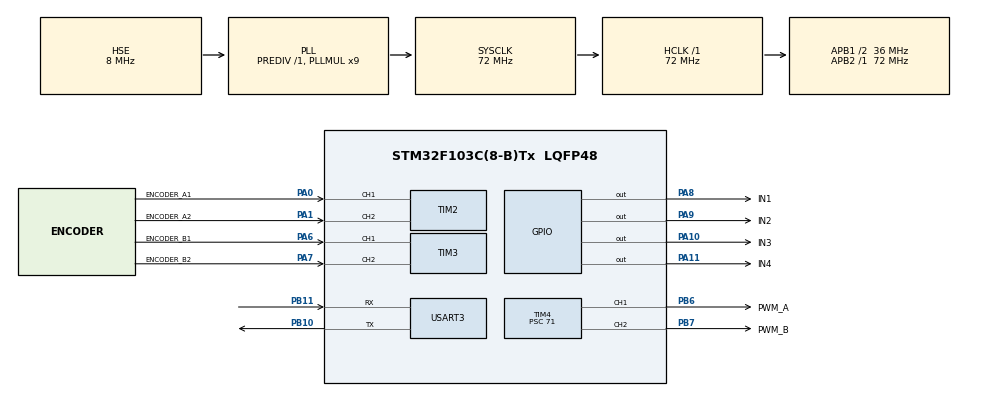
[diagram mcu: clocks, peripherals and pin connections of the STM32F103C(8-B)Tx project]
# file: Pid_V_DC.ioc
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Dma.Request0=USART3_RX
Dma.USART3_RX.0.Direction=DMA_PERIPH_TO_MEMORY
Dma.USART3_RX.0.Instance=DMA1_Channel3
Dma.USART3_RX.0.MemDataAlignment=DMA_MDATAALIGN_BYTE
Dma.USART3_RX.0.MemInc=DMA_MINC_ENABLE
Dma.USART3_RX.0.Mode=DMA_NORMAL
Dma.USART3_RX.0.PeriphDataAlignment=DMA_PDATAALIGN_BYTE
Dma.USART3_RX.0.PeriphInc=DMA_PINC_DISABLE
Dma.USART3_RX.0.Priority=DMA_PRIORITY_LOW
Mcu.Family=STM32F1
Mcu.Name=STM32F103C(8-B)Tx
Mcu.Package=LQFP48
NVIC.DMA1_Channel3_IRQn=true\:0\:0\:false\:false\:true\:false\:true\:true
NVIC.PriorityGroup=NVIC_PRIORITYGROUP_4
NVIC.TIM1_UP_IRQn=true\:1\:0\:true\:false\:true\:true\:true\:true
NVIC.USART3_IRQn=true\:0\:0\:false\:false\:true\:true\:true\:true
PA0-WKUP.GPIO_Label=ENCODER_A1
PA0-WKUP.GPIO_PuPd=GPIO_PULLUP
PA0-WKUP.Signal=S_TIM2_CH1_ETR
PA1.GPIO_Label=ENCODER_A2
PA1.GPIO_PuPd=GPIO_PULLUP
PA1.Signal=S_TIM2_CH2
PA10.GPIO_Label=IN3
PA10.GPIO_ModeDefaultOutputPP=GPIO_MODE_OUTPUT_PP
PA10.GPIO_PuPd=GPIO_PULLUP
PA10.GPIO_Speed=GPIO_SPEED_FREQ_HIGH
PA10.PinState=GPIO_PIN_SET
PA10.Signal=GPIO_Output
PA11.GPIO_Label=IN4
PA11.GPIO_ModeDefaultOutputPP=GPIO_MODE_OUTPUT_PP
PA11.GPIO_PuPd=GPIO_PULLUP
PA11.GPIO_Speed=GPIO_SPEED_FREQ_HIGH
PA11.PinState=GPIO_PIN_SET
PA11.Signal=GPIO_Output
PA13.Mode=Serial_Wire
PA13.Signal=SYS_JTMS-SWDIO
PA14.Mode=Serial_Wire
PA14.Signal=SYS_JTCK-SWCLK
PA6.GPIO_Label=ENCODER_B1
PA6.GPIO_Mode=GPIO_MODE_INPUT
PA6.GPIO_PuPd=GPIO_PULLUP
PA6.Signal=S_TIM3_CH1
PA7.GPIO_Label=ENCODER_B2
PA7.GPIO_Mode=GPIO_MODE_INPUT
PA7.GPIO_PuPd=GPIO_PULLUP
PA7.Signal=S_TIM3_CH2
PA8.GPIO_Label=IN1
PA8.GPIO_ModeDefaultOutputPP=GPIO_MODE_OUTPUT_PP
PA8.GPIO_PuPd=GPIO_PULLUP
PA8.GPIO_Speed=GPIO_SPEED_FREQ_HIGH
PA8.PinState=GPIO_PIN_SET
PA8.Signal=GPIO_Output
PA9.GPIO_Label=IN2
PA9.GPIO_ModeDefaultOutputPP=GPIO_MODE_OUTPUT_PP
PA9.GPIO_PuPd=GPIO_PULLUP
PA9.GPIO_Speed=GPIO_SPEED_FREQ_HIGH
PA9.PinState=GPIO_PIN_SET
PA9.Signal=GPIO_Output
PB10.Mode=Asynchronous
PB10.Signal=USART3_TX
PB11.Mode=Asynchronous
PB11.Signal=USART3_RX
PB6.GPIO_Label=PWM_A
PB6.GPIO_Speed=GPIO_SPEED_FREQ_HIGH
PB6.Signal=S_TIM4_CH1
PB7.GPIO_Label=PWM_B
PB7.GPIO_Speed=GPIO_SPEED_FREQ_HIGH
PB7.Signal=S_TIM4_CH2
PD0-OSC_IN.Mode=HSE-External-Oscillator
PD0-OSC_IN.Signal=RCC_OSC_IN
PD1-OSC_OUT.Mode=HSE-External-Oscillator
PD1-OSC_OUT.Signal=RCC_OSC_OUT
ProjectManager.HeapSize=0x200
ProjectManager.StackSize=0x400
ProjectManager.TargetToolchain=EWARM V8.32
RCC.AHBFreq_Value=72000000
RCC.APB1CLKDivider=RCC_HCLK_DIV2
RCC.APB1Freq_Value=36000000
RCC.APB1TimFreq_Value=72000000
RCC.APB2Freq_Value=72000000
RCC.APB2TimFreq_Value=72000000
RCC.HCLKFreq_Value=72000000
RCC.PLLMUL=RCC_PLL_MUL9
RCC.PLLSourceVirtual=RCC_PLLSOURCE_HSE
RCC.SYSCLKFreq_VALUE=72000000
RCC.SYSCLKSource=RCC_SYSCLKSOURCE_PLLCLK
RCC.USBFreq_Value=72000000
SH.S_TIM2_CH1_ETR.0=TIM2_CH1,Encoder_Interface
SH.S_TIM2_CH2.0=TIM2_CH2,Encoder_Interface
SH.S_TIM3_CH1.0=TIM3_CH1,Encoder_Interface
SH.S_TIM3_CH2.0=TIM3_CH2,Encoder_Interface
SH.S_TIM4_CH1.0=TIM4_CH1,PWM Generation1 CH1
SH.S_TIM4_CH2.0=TIM4_CH2,PWM Generation2 CH2
TIM1.Period=1999
TIM1.Prescaler=359
TIM2.EncoderMode=TIM_ENCODERMODE_TI12
TIM3.EncoderMode=TIM_ENCODERMODE_TI12
TIM4.Channel-PWM\ Generation1\ CH1=TIM_CHANNEL_1
TIM4.Channel-PWM\ Generation2\ CH2=TIM_CHANNEL_2
TIM4.Period=999
TIM4.Prescaler=71
USART3.VirtualMode=VM_ASYNC
VP_TIM1_VS_ClockSourceINT.Mode=Internal
board=custom

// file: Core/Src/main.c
/* USER CODE BEGIN Header */
/**
  ******************************************************************************
  * @file           : main.c
  * @brief          : Main program body
  ******************************************************************************
  * @attention
  *
  * Copyright (c) 2023 STMicroelectronics.
  * All rights reserved.
  *
  * This software is licensed under terms that can be found in the LICENSE file
  * in the root directory of this software component.
  * If no LICENSE file comes with this software, it is provided AS-IS.
  *
  ******************************************************************************
  */
/* USER CODE END Header */
#include "main.h"

/* USER CODE BEGIN Includes */

#include <stdio.h>
#include <stdlib.h>
#include <string.h>

/* USER CODE END Includes */

/* USER CODE BEGIN PTD */

  // Defining PID using typedef struct

  typedef struct {
  float Kp;
  float Ki;
  float Kd;
  float Setpoint;
  float Error;
  float Last_Error;
  float Integral;
  float Derivative;
  float CurrentRPM;
} PID_Controller;

  PID_Controller pid_1;
  PID_Controller pid_2;

/* USER CODE END PTD */

/* USER CODE BEGIN PD */

  #define in_1_T HAL_GPIO_WritePin(GPIOA, GPIO_PIN_8, GPIO_PIN_SET)
  #define in_2_T HAL_GPIO_WritePin(GPIOA, GPIO_PIN_9, GPIO_PIN_RESET)
  #define in_3_T HAL_GPIO_WritePin(GPIOA, GPIO_PIN_10, GPIO_PIN_SET)
  #define in_4_T HAL_GPIO_WritePin(GPIOA, GPIO_PIN_11, GPIO_PIN_RESET)

  #define in_1_N HAL_GPIO_WritePin(GPIOA, GPIO_PIN_8, GPIO_PIN_RESET)
  #define in_2_N HAL_GPIO_WritePin(GPIOA, GPIO_PIN_9, GPIO_PIN_SET)
  #define in_3_N HAL_GPIO_WritePin(GPIOA, GPIO_PIN_10, GPIO_PIN_RESET)
  #define in_4_N HAL_GPIO_WritePin(GPIOA, GPIO_PIN_11, GPIO_PIN_SET)

  #define RX_SIZE 12

/* USER CODE END PD */

TIM_HandleTypeDef htim1;
TIM_HandleTypeDef htim2;
TIM_HandleTypeDef htim3;
TIM_HandleTypeDef htim4;

UART_HandleTypeDef huart3;
DMA_HandleTypeDef hdma_usart3_rx;

/* USER CODE BEGIN PV */

// Encoder Resolution (so xung trên 1 vong quay cua Encoder)
const float EncoderResolution = 1500.0;

// Thoi gian lay mau (0.01 giây) = 10ms
const float T = 0.01;

// R la ban kinh banh xe , B la chieu rong cua Robot (khoang cach giua 2 banh)
const float R = 0.0325, B = 0.1, pi = 3.14 ;

short i,a = 0;

// data nhan tu PC va PI

char str[12];

//uint8_t rxBuffer[RX_SIZE] = {0};

uint8_t data_RX[RX_SIZE] = {0};
uint8_t size = 0;

// bien lua gia tri doc tu encoder
volatile short EncoderCount_1 = 0;
volatile short EncoderCount_2 = 0;
// float CurrentRPM_1,CurrentRPM_2 = 0;

// Dau ra cua ham pid
float ControlOutput_1,ControlOutput_2,ControlOutput_3 = 0;

// Van toc goc banh trai va banh phai
float Velocity_1,Velocity_2 = 0;

// Bien van toc 2 banh
float V_R, V_L;

// Van toc tiep tuyen va goc lech theta
float V_Tangent = 0;
float theta = 0;
float omega = 0;
/* USER CODE END PV */

void SystemClock_Config(void);
static void MX_GPIO_Init(void);
static void MX_DMA_Init(void);
static void MX_TIM2_Init(void);
static void MX_TIM3_Init(void);
static void MX_TIM4_Init(void);
static void MX_TIM1_Init(void);
static void MX_USART3_UART_Init(void);
/* USER CODE BEGIN PFP */

float Conv_Velocity_R(void);
float Conv_Velocity_L(void) ;

//void PWM_SetDutyCycle(float dutyCycle);
float PID_Update_1(PID_Controller *pid, float Setpoint, float Feedback);
float PID_Update_2(PID_Controller *pid, float Setpoint, float Feedback);
//void PWM_SetDutyCycle_2DC (float dutyCycle_1, float dutyCycle_2);

float Conv_Omega_R (float V_Tangent, float theta);
float Conv_Omega_L (float V_Tangent, float theta);

void PWM_SetDutyCycle_1(float dutyCycle);
void PWM_SetDutyCycle_2(float dutyCycle);

void Recevie_DaTa();

/* USER CODE END PFP */

/* USER CODE BEGIN 0 */

 //ham ngat timer 1 xu li pid voi chu ki lay mau la 10ms
void HAL_TIM_PeriodElapsedCallback(TIM_HandleTypeDef *htim)
{
 if(htim->Instance == htim1.Instance)
 {
     //Tinh toan dieu khien PID

    // Nhan du lieu V, theta bang Uart tu raspberry
    Recevie_DaTa();

    // doi theta tu don vi do sang radian
    //theta = theta * (pi/180);

    pid_1.Setpoint = Conv_Omega_R(V_Tangent, theta);
    pid_2.Setpoint = Conv_Omega_L(V_Tangent, theta);

    pid_1.CurrentRPM = Conv_Velocity_R();
    pid_2.CurrentRPM = Conv_Velocity_L();

    ControlOutput_1 = PID_Update_1(&pid_1, pid_1.Setpoint, pid_1.CurrentRPM);
    ControlOutput_2 = PID_Update_2(&pid_2, pid_2.Setpoint, pid_2.CurrentRPM);
    //ControlOutput_3 = PID_Update_3(&pid_3, pid_3.Setpoint, pid_3.CurrentRPM);

    PWM_SetDutyCycle_1(ControlOutput_1);
    PWM_SetDutyCycle_2(ControlOutput_2);

    //PWM_SetDutyCycle_2DC(ControlOutput_1, ControlOutput_2);
    // Xoa co ngat timer 1
    //TIM1->SR &= ~TIM_SR_UIF;
 }
}

// HamPID Update 1 va 2 la PID van toc goc cua 2 dong co (vong tren phut)
float PID_Update_1(PID_Controller *pid, float Setpoint, float Feedback) {

  pid->Error = Setpoint - Feedback;
  pid->Integral += pid->Error;
  pid->Derivative = pid->Error - pid->Last_Error;

  // Tinh dieu khien PID
  float Output = pid->Kp * pid->Error + pid->Ki * pid->Integral + pid->Kd * pid->Derivative;

   pid->Last_Error = pid->Error;

  return Output;
}

float PID_Update_2(PID_Controller *pid, float Setpoint, float Feedback) {

  pid->Error = Setpoint - Feedback;
  pid->Integral += pid->Error;
  pid->Derivative = pid->Error - pid->Last_Error;

  // Tinh dieu khien PID
  float Output = pid->Kp * pid->Error + pid->Ki * pid->Integral + pid->Kd * pid->Derivative;

   pid->Last_Error = pid->Error;

  return Output;
}

void Recevie_DaTa(){
   // Phân tích chuoi va gan gia tri bien
    // Sao chép du lieu tu mang uint8_t sang mang char
    for (int i = 0; i < 11; i++) {

          str[i] = (char)data_RX[i];
    }

    sscanf(str,"V%f,T%f", &V_Tangent, &theta);
}

void HAL_UARTEx_RxEventCallback(UART_HandleTypeDef *huart, uint16_t Size)
{
     HAL_UARTEx_ReceiveToIdle_DMA(&huart3, data_RX, RX_SIZE);
     size = Size;
}

// Ham doc encoder và quy doi van toc
float Conv_Velocity_R(void) {
  //static int EncoderCount = 0;
  //static int PrevEncoderCount = 0;

  // Ðoc giá tri tu Encoder
  EncoderCount_1 = __HAL_TIM_GET_COUNTER(&htim2);

  /* Reset the Counter Register value */
  TIM2->CNT = 0;
  // Tinh van toc tu su thay doi vi tri cua encoder
  Velocity_1 = EncoderCount_1  * 60 / EncoderResolution / T;

  //Velocity = (EncoderCount - PrevEncoderCount) * 60 / EncoderResolution / T;
  // Luu gia tri encoder cho lan lay mau ke tiep
  // PrevEncoderCount = EncoderCount;

  return Velocity_1;
}

float Conv_Velocity_L(void) {
  //static int EncoderCount = 0;
  //static int PrevEncoderCount = 0;

  // Ðoc giá tri tu Encoder
  EncoderCount_2 = __HAL_TIM_GET_COUNTER(&htim3);

  /* Reset the Counter Register value */
  TIM3->CNT = 0;
  // Tinh van toc tu su thay doi vi tri cua encoder
  Velocity_2 = EncoderCount_2  * 60 / EncoderResolution / T;

  //Velocity = (EncoderCount - PrevEncoderCount) * 60 / EncoderResolution / T;
  // Luu gia tri encoder cho lan lay mau ke tiep
  // PrevEncoderCount = EncoderCount;

  return Velocity_2;
}

//  R = 0.0325, B = 0.2, pi = 3.14 ;
// Tinh toan Van Toc goc banh trai va banh phai theo V tiep tuyen va Theta
float Conv_Omega_R (float V_Tangent, float theta){

  //theta = (theta / pi) * 180;   // doi radian sang do
  // voi R la ban kinh banh xe , B la khoang cach giua hai banh xe (chieu rong cua Robot)
  float Velocity_R = (2*V_Tangent + (B*theta)) / (2*R); // don vi rad/s
  //float Omega_R = ((Velocity_R / R) / 2*pi ) * 60;
  float Omega_R = (Velocity_R * 60) / (2*pi); // doi sang RPM

  return -Omega_R;
}

float Conv_Omega_L (float V_Tangent, float theta){

  //theta = (theta / pi) * 180;   // doi radian sang do
  // voi R la ban kinh banh xe , B la khoang cach giua hai banh xe (chieu rong cua Robot)
  float Velocity_L = (2*V_Tangent - (B*theta)) / (2*R); // don vi rad/s
  //float Omega_L = ((Velocity_L / R) / 2*pi ) * 60;
  float Omega_L = (Velocity_L * 60) / (2*pi);  // doi sang RPM

  return Omega_L;
}

// ham pwm tan so 1Khz
void PWM_SetDutyCycle_1(float dutyCycle) {
    //  dutyCycle [0, 100]
  uint16_t pulseWidth_1;
  if(dutyCycle > 0){
    dutyCycle = abs(dutyCycle);
    in_1_T;
    in_2_T;
    pulseWidth_1 = (uint16_t)((dutyCycle / 100.0) * 1000);
  }
  if(dutyCycle < 0) {
    dutyCycle = abs(dutyCycle);
    in_1_N;
    in_2_N;
    pulseWidth_1 = (uint16_t)((dutyCycle / 100.0) * 1000);
  }
  __HAL_TIM_SET_COMPARE(&htim4, TIM_CHANNEL_1, pulseWidth_1);

}

void PWM_SetDutyCycle_2(float dutyCycle) {
    //  dutyCycle [0, 100]
  uint16_t pulseWidth_2;
  if(dutyCycle > 0){
    dutyCycle = abs(dutyCycle);
    in_3_N;
    in_4_N;
    pulseWidth_2 = (uint16_t)((dutyCycle / 100.0) * 1000);
  }
  if(dutyCycle < 0) {
    dutyCycle = abs(dutyCycle);
    in_3_T;
    in_4_T;
    pulseWidth_2 = (uint16_t)((dutyCycle / 100.0) * 1000);
  }
  __HAL_TIM_SET_COMPARE(&htim4, TIM_CHANNEL_2, pulseWidth_2);

}

/* USER CODE END 0 */

int main(void)
{
  /* USER CODE BEGIN 1 */

  // Cau hinh PID
  pid_1.Kp = 1.4;
  pid_1.Ki = 0.18;
  pid_1.Kd = 0.16;
  pid_1.Setpoint = 0.0;
  pid_1.Error = 0.0;
  pid_1.Integral = 0.0;
  pid_1.Derivative = 0.0;

  pid_2.Kp = 1.4;
  pid_2.Ki = 0.18;
  pid_2.Kd = 0.16;
  pid_2.Setpoint = 0.0;
  pid_2.Error = 0.0;
  pid_2.Integral = 0.0;
  pid_2.Derivative = 0.0;

  /* USER CODE END 1 */

  /* MCU Configuration--------------------------------------------------------*/

  /* Reset of all peripherals, Initializes the Flash interface and the Systick. */
  HAL_Init();

  /* Configure the system clock */
  SystemClock_Config();

  /* Initialize all configured peripherals */
  MX_GPIO_Init();
  MX_DMA_Init();
  MX_TIM2_Init();
  MX_TIM3_Init();
  MX_TIM4_Init();
  MX_TIM1_Init();
  MX_USART3_UART_Init();
  /* USER CODE BEGIN 2 */

  HAL_TIM_Base_Start_IT(&htim1);

  //HAL_UART_Receive_DMA(&huart3, data_RX, sizeof(data_RX));

  HAL_UARTEx_ReceiveToIdle_DMA(&huart3, data_RX, RX_SIZE);
  __HAL_DMA_DISABLE_IT(&hdma_usart3_rx, DMA_IT_HT);

  HAL_TIM_PWM_Start(&htim4, TIM_CHANNEL_1);
  HAL_TIM_PWM_Start(&htim4, TIM_CHANNEL_2);

  HAL_TIM_Encoder_Start(&htim3, TIM_CHANNEL_1 | TIM_CHANNEL_2);
  HAL_TIM_Encoder_Start(&htim2, TIM_CHANNEL_1 | TIM_CHANNEL_2);

  /* USER CODE END 2 */

  /* Infinite loop */
  while (1)
  {

  }
}

void SystemClock_Config(void)
{
  RCC_OscInitTypeDef RCC_OscInitStruct = {0};
  RCC_ClkInitTypeDef RCC_ClkInitStruct = {0};

  /** Initializes the RCC Oscillators according to the specified parameters
  * in the RCC_OscInitTypeDef structure.
  */
  RCC_OscInitStruct.OscillatorType = RCC_OSCILLATORTYPE_HSE;
  RCC_OscInitStruct.HSEState = RCC_HSE_ON;
  RCC_OscInitStruct.HSEPredivValue = RCC_HSE_PREDIV_DIV1;
  RCC_OscInitStruct.HSIState = RCC_HSI_ON;
  RCC_OscInitStruct.PLL.PLLState = RCC_PLL_ON;
  RCC_OscInitStruct.PLL.PLLSource = RCC_PLLSOURCE_HSE;
  RCC_OscInitStruct.PLL.PLLMUL = RCC_PLL_MUL9;
  if (HAL_RCC_OscConfig(&RCC_OscInitStruct) != HAL_OK)
  {
    Error_Handler();
  }

  /** Initializes the CPU, AHB and APB buses clocks
  */
  RCC_ClkInitStruct.ClockType = RCC_CLOCKTYPE_HCLK|RCC_CLOCKTYPE_SYSCLK
                              |RCC_CLOCKTYPE_PCLK1|RCC_CLOCKTYPE_PCLK2;
  RCC_ClkInitStruct.SYSCLKSource = RCC_SYSCLKSOURCE_PLLCLK;
  RCC_ClkInitStruct.AHBCLKDivider = RCC_SYSCLK_DIV1;
  RCC_ClkInitStruct.APB1CLKDivider = RCC_HCLK_DIV2;
  RCC_ClkInitStruct.APB2CLKDivider = RCC_HCLK_DIV1;

  if (HAL_RCC_ClockConfig(&RCC_ClkInitStruct, FLASH_LATENCY_2) != HAL_OK)
  {
    Error_Handler();
  }
}

static void MX_TIM1_Init(void)
{

  TIM_ClockConfigTypeDef sClockSourceConfig = {0};
  TIM_MasterConfigTypeDef sMasterConfig = {0};

  htim1.Instance = TIM1;
  htim1.Init.Prescaler = 359;
  htim1.Init.CounterMode = TIM_COUNTERMODE_UP;
  htim1.Init.Period = 1999;
  htim1.Init.ClockDivision = TIM_CLOCKDIVISION_DIV1;
  htim1.Init.RepetitionCounter = 0;
  htim1.Init.AutoReloadPreload = TIM_AUTORELOAD_PRELOAD_DISABLE;
  if (HAL_TIM_Base_Init(&htim1) != HAL_OK)
  {
    Error_Handler();
  }
  sClockSourceConfig.ClockSource = TIM_CLOCKSOURCE_INTERNAL;
  if (HAL_TIM_ConfigClockSource(&htim1, &sClockSourceConfig) != HAL_OK)
  {
    Error_Handler();
  }
  sMasterConfig.MasterOutputTrigger = TIM_TRGO_RESET;
  sMasterConfig.MasterSlaveMode = TIM_MASTERSLAVEMODE_DISABLE;
  if (HAL_TIMEx_MasterConfigSynchronization(&htim1, &sMasterConfig) != HAL_OK)
  {
    Error_Handler();
  }

}

static void MX_TIM2_Init(void)
{

  TIM_Encoder_InitTypeDef sConfig = {0};
  TIM_MasterConfigTypeDef sMasterConfig = {0};

  htim2.Instance = TIM2;
  htim2.Init.Prescaler = 0;
  htim2.Init.CounterMode = TIM_COUNTERMODE_UP;
  htim2.Init.Period = 65535;
  htim2.Init.ClockDivision = TIM_CLOCKDIVISION_DIV1;
  htim2.Init.AutoReloadPreload = TIM_AUTORELOAD_PRELOAD_DISABLE;
  sConfig.EncoderMode = TIM_ENCODERMODE_TI12;
  sConfig.IC1Polarity = TIM_ICPOLARITY_RISING;
  sConfig.IC1Selection = TIM_ICSELECTION_DIRECTTI;
  sConfig.IC1Prescaler = TIM_ICPSC_DIV1;
  sConfig.IC1Filter = 0;
  sConfig.IC2Polarity = TIM_ICPOLARITY_RISING;
  sConfig.IC2Selection = TIM_ICSELECTION_DIRECTTI;
  sConfig.IC2Prescaler = TIM_ICPSC_DIV1;
  sConfig.IC2Filter = 0;
  if (HAL_TIM_Encoder_Init(&htim2, &sConfig) != HAL_OK)
  {
    Error_Handler();
  }
  sMasterConfig.MasterOutputTrigger = TIM_TRGO_RESET;
  sMasterConfig.MasterSlaveMode = TIM_MASTERSLAVEMODE_DISABLE;
  if (HAL_TIMEx_MasterConfigSynchronization(&htim2, &sMasterConfig) != HAL_OK)
  {
    Error_Handler();
  }

}

static void MX_TIM3_Init(void)
{

  TIM_Encoder_InitTypeDef sConfig = {0};
  TIM_MasterConfigTypeDef sMasterConfig = {0};

  htim3.Instance = TIM3;
  htim3.Init.Prescaler = 0;
  htim3.Init.CounterMode = TIM_COUNTERMODE_UP;
  htim3.Init.Period = 65535;
  htim3.Init.ClockDivision = TIM_CLOCKDIVISION_DIV1;
  htim3.Init.AutoReloadPreload = TIM_AUTORELOAD_PRELOAD_DISABLE;
  sConfig.EncoderMode = TIM_ENCODERMODE_TI12;
  sConfig.IC1Polarity = TIM_ICPOLARITY_RISING;
  sConfig.IC1Selection = TIM_ICSELECTION_DIRECTTI;
  sConfig.IC1Prescaler = TIM_ICPSC_DIV1;
  sConfig.IC1Filter = 0;
  sConfig.IC2Polarity = TIM_ICPOLARITY_RISING;
  sConfig.IC2Selection = TIM_ICSELECTION_DIRECTTI;
  sConfig.IC2Prescaler = TIM_ICPSC_DIV1;
  sConfig.IC2Filter = 0;
  if (HAL_TIM_Encoder_Init(&htim3, &sConfig) != HAL_OK)
  {
    Error_Handler();
  }
  sMasterConfig.MasterOutputTrigger = TIM_TRGO_RESET;
  sMasterConfig.MasterSlaveMode = TIM_MASTERSLAVEMODE_DISABLE;
  if (HAL_TIMEx_MasterConfigSynchronization(&htim3, &sMasterConfig) != HAL_OK)
  {
    Error_Handler();
  }

}

static void MX_TIM4_Init(void)
{

  TIM_MasterConfigTypeDef sMasterConfig = {0};
  TIM_OC_InitTypeDef sConfigOC = {0};

  htim4.Instance = TIM4;
  htim4.Init.Prescaler = 71;
  htim4.Init.CounterMode = TIM_COUNTERMODE_UP;
  htim4.Init.Period = 999;
  htim4.Init.ClockDivision = TIM_CLOCKDIVISION_DIV1;
  htim4.Init.AutoReloadPreload = TIM_AUTORELOAD_PRELOAD_DISABLE;
  if (HAL_TIM_PWM_Init(&htim4) != HAL_OK)
  {
    Error_Handler();
  }
  sMasterConfig.MasterOutputTrigger = TIM_TRGO_RESET;
  sMasterConfig.MasterSlaveMode = TIM_MASTERSLAVEMODE_DISABLE;
  if (HAL_TIMEx_MasterConfigSynchronization(&htim4, &sMasterConfig) != HAL_OK)
  {
    Error_Handler();
  }
  sConfigOC.OCMode = TIM_OCMODE_PWM1;
  sConfigOC.Pulse = 0;
  sConfigOC.OCPolarity = TIM_OCPOLARITY_HIGH;
  sConfigOC.OCFastMode = TIM_OCFAST_DISABLE;
  if (HAL_TIM_PWM_ConfigChannel(&htim4, &sConfigOC, TIM_CHANNEL_1) != HAL_OK)
  {
    Error_Handler();
  }
  if (HAL_TIM_PWM_ConfigChannel(&htim4, &sConfigOC, TIM_CHANNEL_2) != HAL_OK)
  {
    Error_Handler();
  }
  HAL_TIM_MspPostInit(&htim4);

}

static void MX_USART3_UART_Init(void)
{

  huart3.Instance = USART3;
  huart3.Init.BaudRate = 115200;
  huart3.Init.WordLength = UART_WORDLENGTH_8B;
  huart3.Init.StopBits = UART_STOPBITS_1;
  huart3.Init.Parity = UART_PARITY_NONE;
  huart3.Init.Mode = UART_MODE_TX_RX;
  huart3.Init.HwFlowCtl = UART_HWCONTROL_NONE;
  huart3.Init.OverSampling = UART_OVERSAMPLING_16;
  if (HAL_UART_Init(&huart3) != HAL_OK)
  {
    Error_Handler();
  }

}

static void MX_DMA_Init(void)
{

  /* DMA controller clock enable */
  __HAL_RCC_DMA1_CLK_ENABLE();

  /* DMA interrupt init */
  /* DMA1_Channel3_IRQn interrupt configuration */
  HAL_NVIC_SetPriority(DMA1_Channel3_IRQn, 0, 0);
  HAL_NVIC_EnableIRQ(DMA1_Channel3_IRQn);

}

static void MX_GPIO_Init(void)
{
  GPIO_InitTypeDef GPIO_InitStruct = {0};

  /* GPIO Ports Clock Enable */
  __HAL_RCC_GPIOD_CLK_ENABLE();
  __HAL_RCC_GPIOA_CLK_ENABLE();
  __HAL_RCC_GPIOB_CLK_ENABLE();

  /*Configure GPIO pin Output Level */
  HAL_GPIO_WritePin(GPIOA, IN1_Pin|IN2_Pin|IN3_Pin|IN4_Pin, GPIO_PIN_SET);

  /*Configure GPIO pins : IN1_Pin IN2_Pin IN3_Pin IN4_Pin */
  GPIO_InitStruct.Pin = IN1_Pin|IN2_Pin|IN3_Pin|IN4_Pin;
  GPIO_InitStruct.Mode = GPIO_MODE_OUTPUT_PP;
  GPIO_InitStruct.Pull = GPIO_PULLUP;
  GPIO_InitStruct.Speed = GPIO_SPEED_FREQ_HIGH;
  HAL_GPIO_Init(GPIOA, &GPIO_InitStruct);

}

void Error_Handler(void)
{
  __disable_irq();
  while (1)
  {
  }
}
